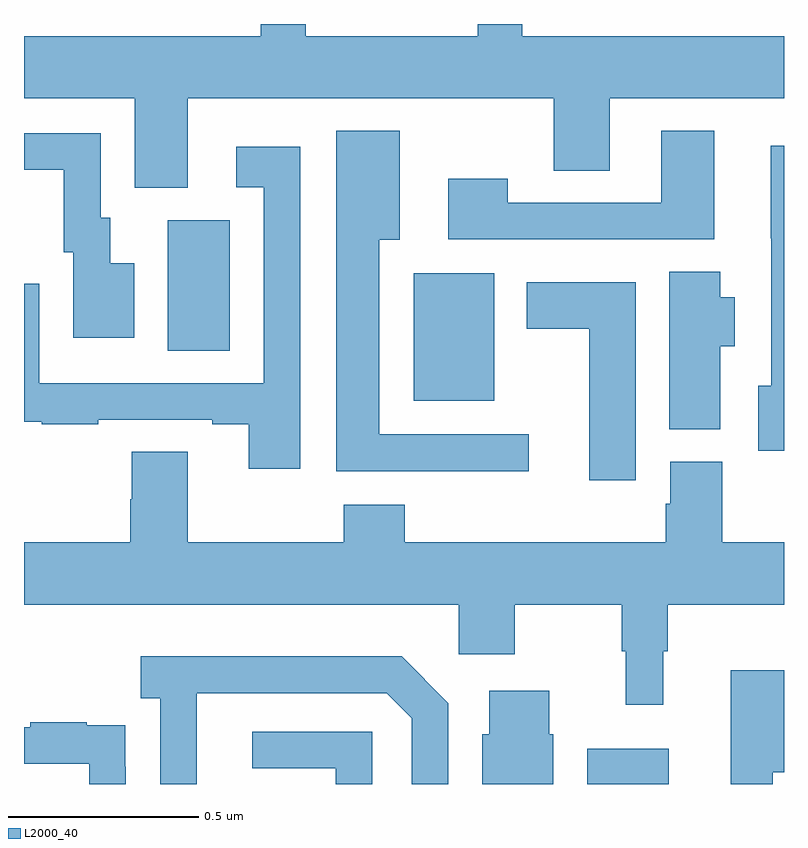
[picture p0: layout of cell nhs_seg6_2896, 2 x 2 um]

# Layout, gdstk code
import gdstk
lib = gdstk.Library(unit=1e-6, precision=1e-09)
def R(c, l, rs):  # rectangles x0, y0, x1, y1
    for r in rs: c.add(gdstk.rectangle(r[:2], r[2:], *l))
def P(c, l, *ps):  # polygons
    for p in ps: c.add(gdstk.Polygon(p, *l))
L2000_40 = (2000, 40)

nhs_seg6_2896 = lib.new_cell('nhs_seg6_2896')
R(nhs_seg6_2896, L2000_40, [(150.482,977.5,150.697,977.593), (150.026,978.509,150.238,978.844), (149.378,978.64,149.542,978.984)])
P(nhs_seg6_2896, L2000_40, [(149.431,979.304),(150.394,979.304),(150.394,979.114),(150.541,979.114),(150.541,979.304),(151,979.304),(151,979.468),(150.311,979.468),(150.311,979.5),(150.194,979.5),(150.194,979.468),(149.741,979.468),(149.741,979.5),(149.623,979.5),(149.623,979.468),(149,979.468),(149,979.304),(149.291,979.304),(149.291,979.069),(149.431,979.069)],
  [(150.328,978.42),(149.935,978.42),(149.935,978.932),(149.989,978.932),(149.989,979.219),(149.822,979.219),(149.822,978.323),(150.328,978.323)],
  [(150.817,979.219),(150.677,979.219),(150.677,979.029),(150.273,979.029),(150.273,979.093),(150.117,979.093),(150.117,978.933),(150.817,978.933)],
  [(149.29,978.871),(149.227,978.871),(149.227,978.99),(149.202,978.99),(149.202,979.212),(149,979.212),(149,979.116),(149.105,979.116),(149.105,978.9),(149.129,978.9),(149.129,978.675),(149.29,978.675)],
  [(151,979.18),(150.965,979.18),(150.965,978.936),(150.966,978.936),(150.966,978.548),(150.932,978.548),(150.932,978.377),(151,978.377)],
  [(149.727,979.177),(149.559,979.177),(149.559,979.071),(149.631,979.071),(149.631,978.555),(149.04,978.555),(149.04,978.817),(149,978.817),(149,978.453),(149.047,978.453),(149.047,978.447),(149.195,978.447),(149.195,978.459),(149.495,978.459),(149.495,978.447),(149.591,978.447),(149.591,978.33),(149.727,978.33)],
  [(150.832,978.652),(150.871,978.652),(150.871,978.781),(150.832,978.781),(150.832,978.848),(150.698,978.848),(150.698,978.433),(150.832,978.433)],
  [(150.61,978.82),(150.323,978.82),(150.323,978.698),(150.488,978.698),(150.488,978.3),(150.61,978.3)],
  [(150.682,977.849),(150.694,977.849),(150.694,977.972),(151,977.972),(151,978.136),(150.837,978.136),(150.837,978.348),(150.701,978.348),(150.701,978.237),(150.689,978.237),(150.689,978.136),(150.002,978.136),(150.002,978.235),(149.842,978.235),(149.842,978.136),(149.431,978.136),(149.431,978.374),(149.284,978.374),(149.284,978.249),(149.279,978.249),(149.279,978.136),(149,978.136),(149,977.972),(150.144,977.972),(150.144,977.841),(150.291,977.841),(150.291,977.972),(150.573,977.972),(150.573,977.849),(150.584,977.849),(150.584,977.709),(150.682,977.709)],
  [(149.454,977.739),(149.955,977.739),(150.021,977.673),(150.021,977.5),(150.117,977.5),(150.117,977.713),(149.994,977.836),(149.307,977.836),(149.307,977.726),(149.358,977.726),(149.358,977.5),(149.454,977.5)],
  [(150.97,977.531),(151,977.531),(151,977.8),(150.86,977.8),(150.86,977.5),(150.97,977.5)],
  [(150.393,977.631),(150.382,977.631),(150.382,977.746),(150.224,977.746),(150.224,977.631),(150.206,977.631),(150.206,977.5),(150.393,977.5)],
  [(149.268,977.546),(149.267,977.546),(149.267,977.655),(149.165,977.655),(149.165,977.662),(149.017,977.662),(149.017,977.649),(149,977.649),(149,977.553),(149.172,977.553),(149.172,977.5),(149.268,977.5)],
  [(149.916,977.637),(149.601,977.637),(149.601,977.541),(149.82,977.541),(149.82,977.5),(149.916,977.5)])

lib.write_gds('nhs_seg6_2896.gds')
